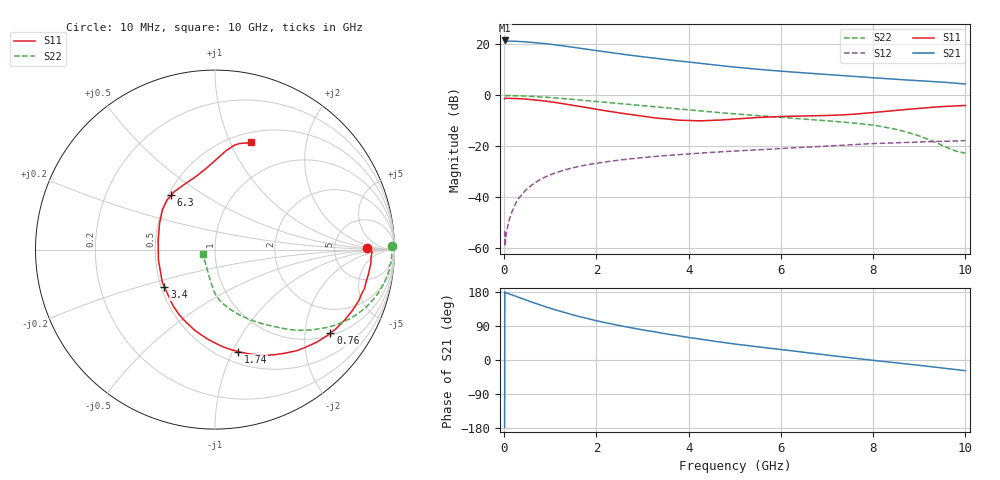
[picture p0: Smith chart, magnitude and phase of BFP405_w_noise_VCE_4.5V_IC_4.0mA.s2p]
! Infineon Technologies  Discrete & RF Semiconductors
! BFP405
! VCE =  4.5 V,  IC =  4.0 mA
! Common Emitter S-Parameters:  Jan 2016
# GHz  S  MA  R  50
!  f  S11  S21  S12  S22
! GHz  MAG  ANG  MAG  ANG  MAG  ANG  MAG  ANG
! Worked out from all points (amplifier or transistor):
!   233 points, 10 MHz to 10 GHz, reference 50 ohm
!   highest |S21| = 21.5 dB at 10 MHz (marker M1)
!   |S21| within 3 dB of that: start of sweep to 1.626 GHz
!   unconditionally stable (mu >= 1): start of sweep to 27.2 MHz; 3.661 GHz to end of sweep
!   at 200 MHz: K = 0.24, MSG = 32.8 dB, |S12| = -44.4 dB
!   at 1.74 GHz: K = 0.49, MSG = 22.8 dB, |S12| = -27.5 dB
!   at 10 GHz: K = 1.48, MAG = 7.0 dB, |S12| = -17.8 dB
!   lowest NFmin = 1.10 dB at 900 MHz
!   S11 on the Smith chart (normalised r, x): 10 MHz: 12, +1; 760 MHz: 1.08, -2.71; 1.74 GHz: 0.61, -1.05; 3.4 GHz: 0.52, -0.25; 6.3 GHz: 0.52, +0.37; 10 GHz: 0.61, +1.20
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0.01  0.8471 0.6  11.87 -178.1  0.0022 6.8  0.9843 1.3
0.02  0.8756 -0.8  11.65 177.9  0.0011 24.6  0.9812 0.1
0.05  0.8706 -2.5  11.52 177.2  0.0021 50.9  0.9854 -0.7
0.13  0.8697 -6.1  11.49 173.5  0.0041 72.4  0.9844 -2.7
0.4  0.8509 -19.2  11.25 161.6  0.0118 76.0  0.9699 -8.6
0.6  0.822 -28.5  10.9 152.8  0.0174 73.0  0.9526 -12.8
0.76  0.7934 -35.8  10.58 146.2  0.0217 70.3  0.9343 -15.9
0.92  0.7624 -43.0  10.22 139.5  0.0257 67.5  0.9137 -19.1
1.18  0.7059 -54.2  9.558 129.7  0.0316 63.0  0.8765 -23.7
1.4  0.6571 -63.6  8.979 121.9  0.0361 59.6  0.8434 -27.2
1.68  0.5957 -74.7  8.264 112.9  0.0413 55.6  0.8011 -31.1
1.74  0.583 -77.1  8.109 111.1  0.0423 54.8  0.7924 -31.9
2.1  0.5136 -91.4  7.28 101.0  0.0479 50.5  0.741 -36.3
2.48  0.4536 -106.4  6.526 91.4  0.0532 46.7  0.6903 -40.5
3  0.3896 -127.1  5.686 79.5  0.0599 42.0  0.6259 -45.7
3.4  0.3503 -143.5  5.143 71.4  0.0645 38.8  0.5788 -49.3
4  0.3206 -169.8  4.458 59.3  0.071 34.5  0.5147 -54.9
5.1  0.3464 151.8  3.495 40.7  0.0816 27.3  0.4247 -64.9
6.3  0.3888 129.0  2.832 23.4  0.0935 20.8  0.3542 -74.1
6.8  0.3971 119.3  2.624 16.1  0.0991 17.9  0.3271 -78.1
8.4  0.4964 90.0  2.081 -6.1  0.1163 6.4  0.2239 -92.2
10  0.6304 71.2  1.662 -28.2  0.1286 -4.7  0.0734 -159.3
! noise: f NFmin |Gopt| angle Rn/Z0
0.9  1.1  0.42  13  0.34
1.8  1.39  0.33  21  0.32
2.4  1.55  0.28  31  0.32
3  1.58  0.26  47  0.29
4  1.76  0.14  70  0.25
5  2.11  0.09  124  0.22
